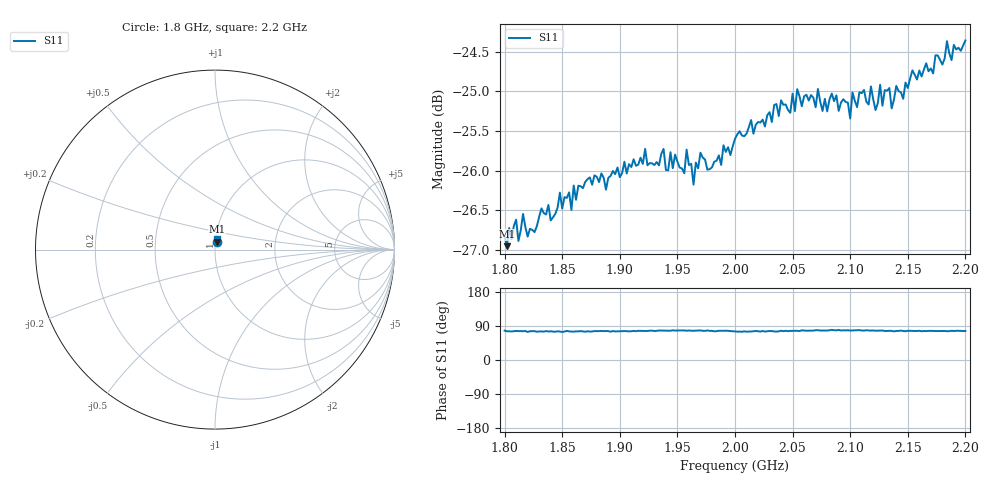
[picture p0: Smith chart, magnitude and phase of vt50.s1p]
!1-port S-parameter file
# HZ S RI R 50
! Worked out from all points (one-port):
!   201 points, 1.8 GHz to 2.2 GHz, reference 50 ohm
!   lowest |S11| = -27.0 dB at 1.802 GHz (marker M1), VSWR 1.09, Z = 50.9 + j4.44 ohm
!   |S11| at or under -10 dB: start of sweep to end of sweep
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1.8e9  0.00984 0.0445
1.802e9  0.011 0.0436
1.81e9  0.0108 0.0454
1.812e9  0.0108 0.044
1.816e9  0.0114 0.0457
1.82e9  0.0126 0.0438
1.848e9  0.0125 0.0469
1.85e9  0.0131 0.0456
1.9e9  0.0122 0.0481
1.922e9  0.012 0.0503
1.95e9  0.0108 0.0496
1.956e9  0.0104 0.0488
1.958e9  0.0114 0.0504
1.964e9  0.011 0.0479
1.97e9  0.0107 0.0503
1.988e9  0.0114 0.0492
2e9  0.0132 0.0508
2.048e9  0.0124 0.0531
2.05e9  0.0127 0.0546
2.1e9  0.0115 0.0528
2.102e9  0.0117 0.0549
2.116e9  0.0115 0.054
2.118e9  0.0123 0.0553
2.122e9  0.0121 0.0534
2.126e9  0.0122 0.0555
2.136e9  0.0125 0.0534
2.15e9  0.0126 0.0551
2.2e9  0.0139 0.0589
